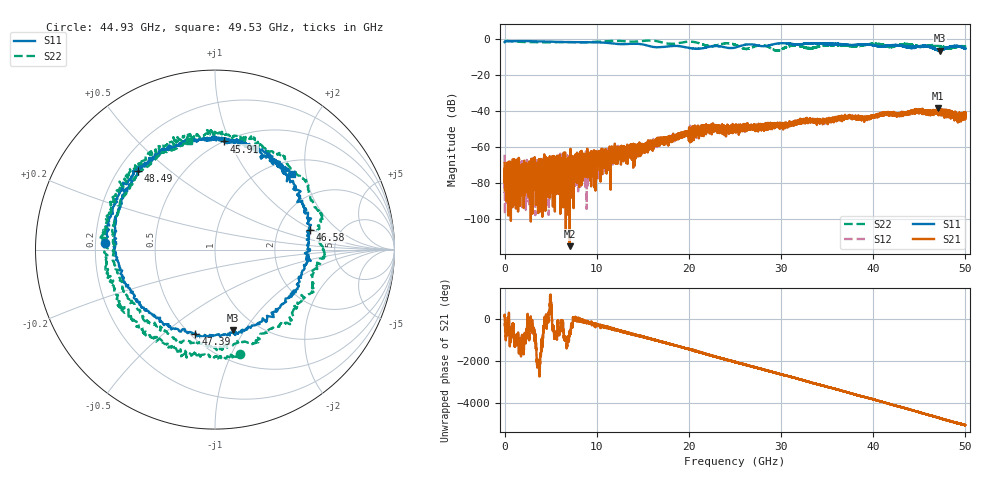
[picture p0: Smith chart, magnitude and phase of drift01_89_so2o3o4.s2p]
!Created with skrf (http://scikit-rf.org).
# Hz S RI R 50.0
!freq ReS11 ImS11 ReS21 ImS21 ReS12 ImS12 ReS22 ImS22
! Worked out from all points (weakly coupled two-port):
!   10001 points, 300 kHz to 50 GHz, reference 50 ohm
!   highest |S21| = -38.67 dB at 47.01 GHz (marker M1); lowest = -115.1 dB at 7.07 GHz (marker M2)
!   lowest |S11| = -6.8 dB at 47.2 GHz (marker M3), VSWR 2.69, Z = 39.1 - j44.3 ohm
!   |S11| at or under -10 dB: nowhere
!   |S22| runs from -6.8 to -1.0 dB; largest |S21 - S12| = 0.0035
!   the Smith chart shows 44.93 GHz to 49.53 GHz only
!   S11 on the Smith chart (normalised r, x): 44.93 GHz: 0.24, +0.03; 45.91 GHz: 0.50, +0.95; 46.58 GHz: 3.03, +0.96; 47.39 GHz: 0.53, -0.65; 48.49 GHz: 0.28, +0.39; 49.53 GHz: 1.26, +1.67
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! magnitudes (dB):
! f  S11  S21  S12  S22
! 300 kHz  -2.0  -69.1  -64.4  -1.3
! 350.3 MHz  -1.4  -73.6  -80.9  -1.4
! 7.07 GHz  -1.9  -115.1  -69.5  -2.0
! 8.335 GHz  -1.9  -81.3  -68.8  -2.1
! 16.67 GHz  -4.8  -55.7  -57.0  -1.6
! 21.65 GHz  -5.2  -49.8  -50.7  -3.5
! 25 GHz  -5.0  -48.6  -49.5  -3.4
! 26.18 GHz  -3.4  -48.9  -48.9  -5.7
! 28.09 GHz  -4.3  -48.7  -49.0  -3.8
! 29.53 GHz  -2.8  -47.9  -48.6  -6.7
! 31.29 GHz  -3.1  -46.8  -47.6  -4.0
! 33.34 GHz  -2.6  -45.2  -46.4  -5.5
! 41.67 GHz  -3.9  -41.1  -41.9  -4.6
! 44.93 GHz  -4.2  -39.4  -40.4  -4.5
! 45.91 GHz  -4.4  -41.9  -41.0  -4.1
! 46.58 GHz  -5.3  -40.9  -41.5  -3.8
! 47.01 GHz  -6.3  -38.7  -41.1  -4.1
! 47.2 GHz  -6.8  -39.6  -40.2  -4.3
! 47.39 GHz  -6.3  -40.8  -40.2  -4.7
! 48.49 GHz  -4.2  -42.3  -42.3  -5.3
! 49.53 GHz  -4.4  -43.3  -42.7  -4.1
! 50 GHz  -5.5  -42.1  -43.4  -4.2
